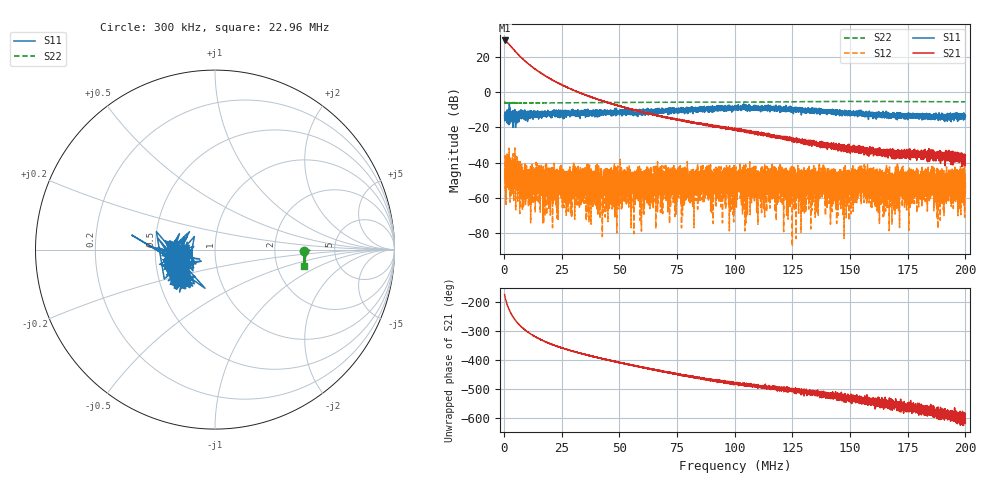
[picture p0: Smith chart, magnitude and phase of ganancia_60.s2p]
# Hz S DB R 50
! CMT, M5065, 19127446, 24.2.4/2
! Date: 11/8/2024 3:25:33 PM
! Data: Format (Calibration Info)
! Freq	S11:dB/Ang(F2)	S21:dB/Ang(F2)	S12:dB/Ang(F2)	S22:dB/Ang(F2)
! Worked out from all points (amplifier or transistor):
!   9000 points, 300 kHz to 200 MHz, reference 50 ohm
!   highest |S21| = 29.6 dB at 388.8 kHz (marker M1)
!   |S21| within 3 dB of that: start of sweep to 2.78 MHz
!   unconditionally stable (mu >= 1): start of sweep to 1.317 MHz; 1.323 MHz to 2.252 MHz; 2.28 MHz to end of sweep
!   at 33.59 MHz: K = 70.05, MAG = 1.2 dB, |S12| = -45.8 dB
!   at 100.2 MHz: K = 2066.69, MAG = -18.9 dB, |S12| = -55.5 dB
!   at 200 MHz: K = 7750.01, MAG = -34.3 dB, |S12| = -51.2 dB
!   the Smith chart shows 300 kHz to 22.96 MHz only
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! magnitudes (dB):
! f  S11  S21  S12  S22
! 300 kHz  -13.2  29.5  -46.0  -6.1
! 388.8 kHz  -16.2  29.6  -43.7  -5.5
! 4.76 MHz  -12.6  23.6  -34.7  -6.0
! 8.755 MHz  -12.0  18.3  -49.1  -6.0
! 14.77 MHz  -12.5  12.1  -49.3  -6.0
! 33.59 MHz  -10.3  -0.6  -45.8  -5.9
! 42.06 MHz  -11.5  -4.6  -60.2  -5.8
! 46.88 MHz  -10.6  -6.5  -50.6  -5.8
! 66.87 MHz  -10.6  -13.4  -54.7  -5.7
! 100.2 MHz  -8.6  -20.9  -55.5  -5.6
! 101.9 MHz  -8.2  -21.6  -47.2  -5.5
! 103.7 MHz  -8.8  -21.5  -42.6  -5.5
! 108.4 MHz  -8.5  -22.5  -53.4  -5.5
! 110.1 MHz  -10.3  -23.1  -51.4  -5.5
! 120 MHz  -10.4  -26.2  -59.0  -5.4
! 122.2 MHz  -10.6  -27.0  -49.4  -5.4
! 133.4 MHz  -9.8  -27.3  -62.4  -5.3
! 138.1 MHz  -10.5  -29.7  -43.7  -5.2
! 146.8 MHz  -12.0  -31.4  -46.5  -5.2
! 154.6 MHz  -12.1  -32.1  -48.9  -5.2
! 166.7 MHz  -11.9  -32.8  -46.9  -5.2
! 200 MHz  -13.5  -36.0  -51.2  -5.4
